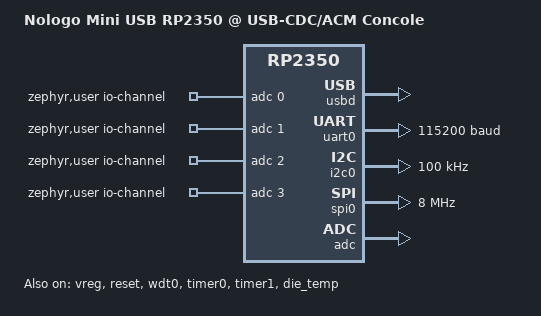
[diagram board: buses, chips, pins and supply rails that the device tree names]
/*
 * SPDX-FileCopyrightText: Copyright (c) 2025-2026 TiaC Systems
 * SPDX-License-Identifier: Apache-2.0
 */

#include <freq.h>

#include <zephyr/dt-bindings/clock/rpi_pico_rp2350_clock.h>
#include <zephyr/dt-bindings/regulator/rpi_pico.h>

#include <zephyr/dt-bindings/gpio/gpio.h>
#include <zephyr/dt-bindings/i2c/i2c.h>
#include <zephyr/dt-bindings/led/led.h>

#include "stemma_qt_connector.dtsi"
#include "seeed_grove_connectors.dtsi"
#include "nologo_miniusb_connector.dtsi"
#include "nologo_miniusb_pads.dtsi"
#include "mini_usb_rp2350-pinctrl.dtsi"

/ {
	model = "Nologo Mini USB RP2350 @ USB-CDC/ACM Concole";
	compatible = "nologo,mini-usb-rp2350",
		     "nologo,mini-usb-rp2350-usbcons";

	chosen {
		zephyr,sram = &sram0;
		zephyr,console = &cdc_acm_console_uart;
		zephyr,shell-uart = &cdc_acm_console_uart;
	};

	aliases {
		led-strip = &led_strip;
		watchdog0 = &wdt0;
	};

	zephyr,user {
		io-channels = <&adc 0>, <&adc 1>, <&adc 2>, <&adc 3>;
	};
};

&clocks {
	status = "okay";
	pinctrl-0 = <&clocks_default>;
	pinctrl-names = "default";
};

&vreg {
	status = "okay";
	regulator-always-on;
	regulator-allowed-modes = <REGULATOR_RPI_PICO_MODE_NORMAL>;
};

&reset {
	status = "okay";
};

&wdt0 {
	status = "okay";
};

&timer0 {
	status = "okay";
};

&timer1 {
	status = "okay";
};

&dma {
	status = "okay";
};

&die_temp {
	status = "okay";
	friendly-name = "RP2350 chip temperature";
};

zephyr_udc0: &usbd {
	status = "okay";
	cdc_acm_console_uart: cdc-acm-console-uart {
		compatible = "zephyr,cdc-acm-uart";
	};
};

&uart0 {
	status = "okay";
	pinctrl-0 = <&uart0_default>;
	pinctrl-names = "default";
	current-speed = <115200>;
	data-bits = <8>;
	parity = "none";
	stop-bits = "1";
};

&i2c0 {
	status = "okay";
	pinctrl-0 = <&i2c0_default>;
	pinctrl-names = "default";
	clock-frequency = <I2C_BITRATE_STANDARD>;
};

&i2c1 {
	status = "disabled";
	pinctrl-0 = <&i2c1_default>;
	pinctrl-names = "default";
	clock-frequency = <I2C_BITRATE_FAST>;
};

&spi0 {
	status = "okay";
	pinctrl-0 = <&spi0_default>;
	pinctrl-names = "default";
	clock-frequency = <DT_FREQ_M(8)>;
};

&pio0 {
	status = "okay";
	pio-ws2812 {
		compatible = "worldsemi,ws2812-rpi_pico-pio";
		pinctrl-0 = <&pio0_ws2812_default>;
		pinctrl-names = "default";

		/* HI: 0x3F0: 1111110000: 0.750 us high and 0.500 us low */
		/* LO: 0x380: 1110000000: 0.375 us high and 0.875 us low */
		bit-waveform = <3>, <3>, <4>;

		ws2812: ws2812 {
			chain-length = <1>;
			color-mapping = <LED_COLOR_ID_GREEN
					 LED_COLOR_ID_RED
					 LED_COLOR_ID_BLUE>;

			/* PIO0:OUT @ GP22 and Tbit = 1.25 us / 10 */
			gpios = <&gpio0 22 GPIO_ACTIVE_HIGH>;
			frequency = <DT_FREQ_K(800)>;
			reset-delay = <280>;
		};
	};
};

led_strip: &ws2812 {};

&adc {
	status = "okay";
	pinctrl-0 = <&adc_default>;
	pinctrl-names = "default";
};

&pwm {
	status = "disabled";
	pinctrl-0 = <&pwm_default>;
	pinctrl-names = "default";
};

gpio0_lo: &gpio0 {
	status = "okay";
	/* namespace and positions without wired bits */
	gpio-reserved-ranges = <22 1>;
	gpio-line-names =
		"TX0",			/* GP0 */
		"RX0",			/* GP1 */
		"GP2_CTS0",		/* GP2 */
		"GP3_RTS0",		/* GP3 */
		"SDI0",			/* GP4 */
		"CSN0",			/* GP5 */
		"SCK0",			/* GP6 */
		"SDO0",			/* GP7 */
		"GP8_PWM8",		/* GP8 */
		"GP9_PWM9",		/* GP9 */
		"GP10_PWM10",		/* GP10 */
		"GP11_PWM11",		/* GP11 */
		"GP12_PWM12",		/* GP12 */
		"GP13_PWM13",		/* GP13 */
		"GP14_SDA1",		/* GP14 */
		"GP15_SCL1",		/* GP15 */
		"SDA0",			/* GP16 */
		"SCL0",			/* GP17 */
		"GP18_PWM2",		/* GP18 */
		"GP19_PWM3",		/* GP19 */
		"GP20_PWM4",		/* GP20 */
		"GP21_PWM5",		/* GP21 */
		"",  /* Din of LED stripe, GP22 */
		"GP23_PWM7",		/* GP23 */
		"GP24_PWM8",		/* GP24 */
		"GP25_PWM9",		/* GP25 */
		"ADC0",			/* GP26 */
		"ADC1",			/* GP27 */
		"ADC2",			/* GP28 */
		"ADC3";			/* GP29 */
};
